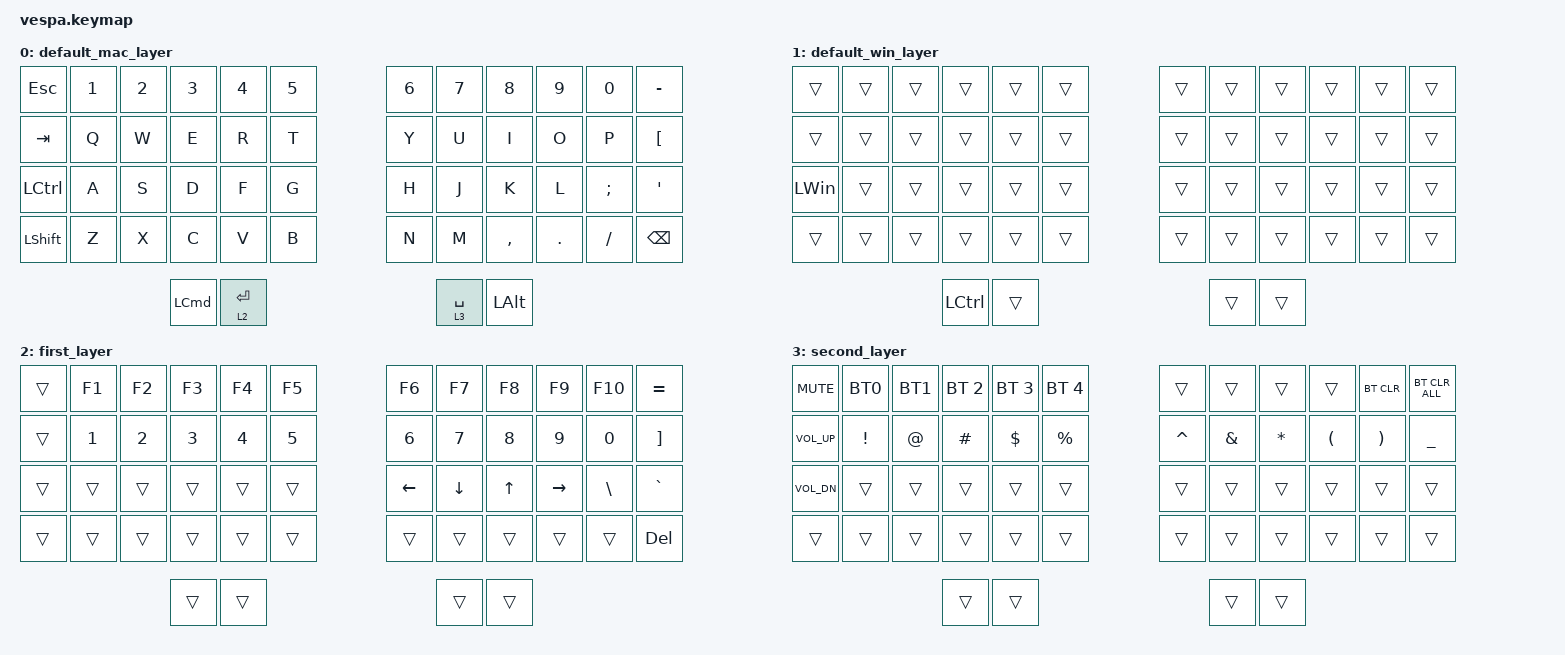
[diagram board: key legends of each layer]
#include <behaviors.dtsi>
#include <dt-bindings/zmk/keys.h>
#include <dt-bindings/zmk/bt.h>
#include <dt-bindings/zmk/outputs.h>

&lt {
  quick-tap-ms = <200>;
};

/ {
  behaviors {
    boot_unlock: boot_unlock {
      compatible = "zmk,behavior-hold-tap";
      #binding-cells = <2>;
      flavor = "hold-preferred";
      tapping-term-ms = <3000>;
      bindings = <&bootloader>, <&studio_unlock>;
      display-name = "Boot-unlock";
    };
  };

  combos {
    compatible = "zmk,combos";
    combo_studio {
      timeout-ms = <50>;
      key-positions = <0 11 36 47>; // ESC + - + LSHIFT + BSPC
      bindings = <&boot_unlock 0 0>;
    };
  };

  macros {
    BT0: BT0 {
      compatible = "zmk,behavior-macro";
      #binding-cells = <0>;
      bindings
        = <&to 1>
        , <&bt BT_SEL 0>
        ;
      label = "BT0";
    };

    BT1: BT1 {
      compatible = "zmk,behavior-macro";
      #binding-cells = <0>;
      bindings
        = <&to 0>
        , <&bt BT_SEL 1>
        ;
      label = "BT1";
    };
  };

  keymap {
    compatible = "zmk,keymap";

    default_mac_layer {
      bindings = <
&kp ESC   &kp N1  &kp N2  &kp N3   &kp N4      &kp N5  &kp N6  &kp N7      &kp N8    &kp N9  &kp N0    &kp MINUS
&kp TAB   &kp Q   &kp W   &kp E    &kp R       &kp T   &kp Y   &kp U       &kp I     &kp O   &kp P     &kp LBKT
&kp LCTRL &kp A   &kp S   &kp D    &kp F       &kp G   &kp H   &kp J       &kp K     &kp L   &kp SEMI  &kp APOS
&kp LSHFT &kp Z   &kp X   &kp C    &kp V       &kp B   &kp N   &kp M       &kp COMMA &kp DOT &kp SLASH &kp BSPC
                          &kp LCMD &lt 2 ENTER                 &lt 3 SPACE &kp LALT
      >;
		};

    default_win_layer {
      bindings = <
&trans    &trans  &trans  &trans    &trans  &trans    &trans  &trans  &trans  &trans  &trans   &trans
&trans    &trans  &trans  &trans    &trans  &trans    &trans  &trans  &trans  &trans  &trans   &trans
&kp LWIN &trans  &trans  &trans    &trans  &trans    &trans  &trans  &trans  &trans  &trans   &trans
&trans    &trans  &trans  &trans    &trans  &trans    &trans  &trans  &trans  &trans  &trans   &trans
                          &kp LCTRL &trans                    &trans  &trans
      >;
		};

    first_layer {
      bindings = <
&trans  &kp F1  &kp F2  &kp F3  &kp F4  &kp F5  &kp F6   &kp F7   &kp F8  &kp F9    &kp F10  &kp EQUAL
&trans  &kp N1  &kp N2  &kp N3  &kp N4  &kp N5  &kp N6   &kp N7   &kp N8  &kp N9    &kp N0   &kp RBKT
&trans  &trans  &trans  &trans  &trans  &trans  &kp LEFT &kp DOWN &kp UP  &kp RIGHT &kp BSLH &kp GRAVE
&trans  &trans  &trans  &trans  &trans  &trans  &trans   &trans   &trans  &trans    &trans   &kp DEL
                        &trans  &trans                   &trans   &trans
      >;
    };

    second_layer {
      bindings = <
&kp C_MUTE    &BT0          &BT1          &bt BT_SEL 2  &bt BT_SEL 3  &bt BT_SEL 4  &trans    &trans   &trans   &trans   &bt BT_CLR  &bt BT_CLR_ALL
&kp C_VOL_UP  &kp EXCL      &kp AT        &kp HASH      &kp DLLR      &kp PRCNT     &kp CARET &kp AMPS &kp STAR &kp LPAR &kp RPAR    &kp UNDER
&kp C_VOL_DN  &trans        &trans        &trans        &trans        &trans        &trans    &trans   &trans   &trans   &trans      &trans
&trans        &trans        &trans        &trans        &trans        &trans        &trans    &trans   &trans   &trans   &trans      &trans
                                          &trans        &trans                                &trans   &trans
      >;
    };

    extra1 {
      status = "reserved";
    };
    extra2 {
      status = "reserved";
    };
  };
};
